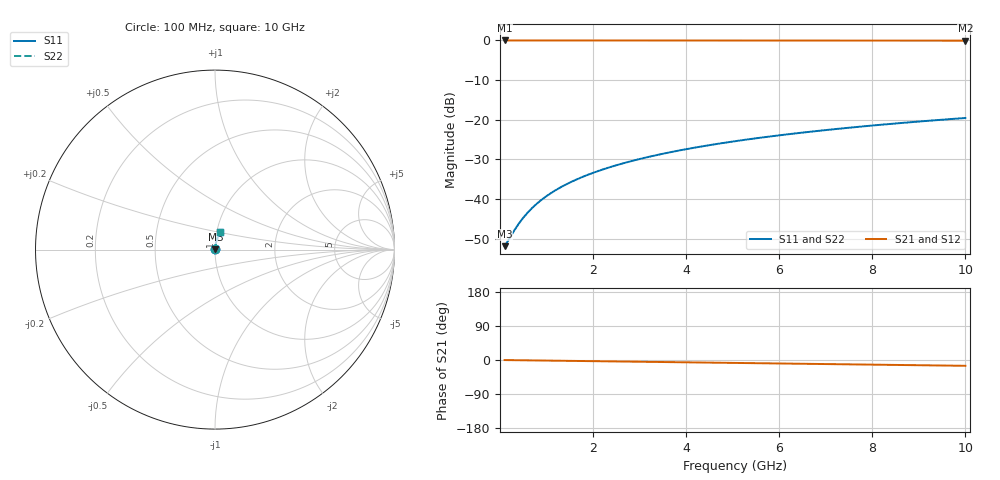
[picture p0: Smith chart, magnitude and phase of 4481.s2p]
# Hz S RI R 50.00
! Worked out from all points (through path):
!   100 points, 100 MHz to 10 GHz, reference 50 ohm
!   highest |S21| = -0.02 dB at 100 MHz (marker M1); lowest = -0.1 dB at 10 GHz (marker M2)
!   group delay of S21, straight-line fit = 4.25 ps
!   lowest |S11| = -51.9 dB at 100 MHz (marker M3), VSWR 1.01, Z = 50.2 + j0.106 ohm
!   |S11| at or under -10 dB: start of sweep to end of sweep
!   |S22| runs from -51.9 to -19.6 dB; largest |S21 - S12| = 0
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1e8  0.00232 0.00106  0.9977 -0.00266  0.9977 -0.00266  0.00232 0.00106
2e8  0.00235 0.00212  0.9976 -0.00533  0.9976 -0.00533  0.00235 0.00212
3e8  0.00237 0.00317  0.9976 -0.00799  0.9976 -0.00799  0.00237 0.00317
4e8  0.0024 0.00423  0.9976 -0.0107  0.9976 -0.0107  0.0024 0.00423
5e8  0.00243 0.00529  0.9975 -0.0133  0.9975 -0.0133  0.00243 0.00529
6e8  0.00247 0.00635  0.9975 -0.016  0.9975 -0.016  0.00247 0.00635
7e8  0.00251 0.0074  0.9974 -0.0186  0.9974 -0.0186  0.00251 0.0074
8e8  0.00256 0.00846  0.9973 -0.0213  0.9973 -0.0213  0.00256 0.00846
1e9  0.00267 0.0106  0.9972 -0.0266  0.9972 -0.0266  0.00267 0.0106
1.2e9  0.0028 0.0127  0.997 -0.0319  0.997 -0.0319  0.0028 0.0127
1.5e9  0.00304 0.0159  0.9966 -0.0399  0.9966 -0.0399  0.00304 0.0159
1.8e9  0.00333 0.019  0.9962 -0.0479  0.9962 -0.0479  0.00333 0.019
2.1e9  0.00367 0.0222  0.9957 -0.0559  0.9957 -0.0559  0.00367 0.0222
2.5e9  0.0042 0.0264  0.995 -0.0665  0.995 -0.0665  0.0042 0.0264
2.9e9  0.00481 0.0305  0.9941 -0.0771  0.9941 -0.0771  0.00481 0.0305
3.4e9  0.00571 0.0358  0.9927 -0.0904  0.9927 -0.0904  0.00571 0.0358
4.2e9  0.00743 0.044  0.9902 -0.1115  0.9902 -0.1115  0.00743 0.044
5.1e9  0.00979 0.0533  0.9868 -0.1352  0.9868 -0.1352  0.00979 0.0533
5.9e9  0.0123 0.0614  0.9831 -0.1562  0.9831 -0.1562  0.0123 0.0614
6.7e9  0.0151 0.0693  0.979 -0.1771  0.979 -0.1771  0.0151 0.0693
8.4e9  0.0222 0.0859  0.9685 -0.2211  0.9685 -0.2211  0.0222 0.0859
1e10  0.0302 0.1008  0.9566 -0.2619  0.9566 -0.2619  0.0302 0.1008
